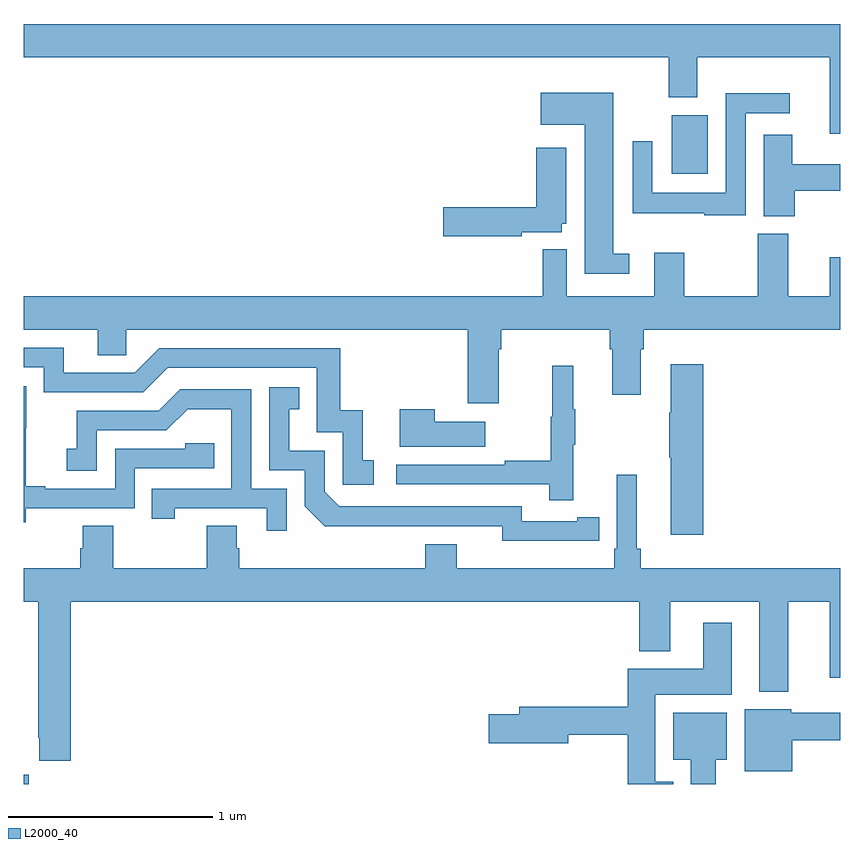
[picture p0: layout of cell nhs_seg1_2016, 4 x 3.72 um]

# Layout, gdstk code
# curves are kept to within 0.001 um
import gdstk
lib = gdstk.Library(unit=1e-6, precision=1e-09)
def R(c, l, rs):  # rectangles x0, y0, x1, y1
    for r in rs: c.add(gdstk.rectangle(r[:2], r[2:], *l))
def P(c, l, *ps):  # polygons
    for p in ps: c.add(gdstk.Polygon(p, *l))
L2000_40 = (2000, 40)

nhs_seg1_2016 = lib.new_cell('nhs_seg1_2016')
R(nhs_seg1_2016, L2000_40, [(221,524.199,221.026,524.245), (224.174,527.186,224.35,527.473)])
P(nhs_seg1_2016, L2000_40, [(225,527.92),(221,527.92),(221,527.756),(224.159,527.756),(224.159,527.562),(224.299,527.562),(224.299,527.756),(224.948,527.756),(224.948,527.382),(225,527.382)],
  [(223.966,526.796),(223.888,526.796),(223.888,527.584),(223.533,527.584),(223.533,527.426),(223.748,527.426),(223.748,526.698),(223.966,526.698)],
  [(224.535,527.484),(224.752,527.484),(224.752,527.581),(224.439,527.581),(224.439,527.095),(224.079,527.095),(224.079,527.347),(223.983,527.347),(223.983,526.994),(224.332,526.994),(224.332,526.984),(224.535,526.984)],
  [(224.777,527.104),(225,527.104),(225,527.233),(224.764,527.233),(224.764,527.377),(224.624,527.377),(224.624,526.978),(224.777,526.978)],
  [(223.44,526.901),(223.636,526.901),(223.636,526.941),(223.657,526.941),(223.657,527.314),(223.511,527.314),(223.511,527.024),(223.056,527.024),(223.056,526.882),(223.44,526.882)],
  [(223.327,526.328),(223.34,526.328),(223.34,526.424),(223.871,526.424),(223.871,526.328),(223.883,526.328),(223.883,526.104),(224.023,526.104),(224.023,526.328),(224.036,526.328),(224.036,526.424),(225,526.424),(225,526.777),(224.948,526.777),(224.948,526.588),(224.743,526.588),(224.743,526.893),(224.596,526.893),(224.596,526.588),(224.235,526.588),(224.235,526.801),(224.087,526.801),(224.087,526.588),(223.66,526.588),(223.66,526.816),(223.542,526.816),(223.542,526.588),(221,526.588),(221,526.424),(221.363,526.424),(221.363,526.297),(221.502,526.297),(221.502,526.424),(223.175,526.424),(223.175,526.062),(223.327,526.062)],
  [(222.715,525.783),(222.662,525.783),(222.662,526.03),(222.551,526.03),(222.551,526.332),(221.664,526.332),(221.544,526.212),(221.197,526.212),(221.197,526.335),(221,526.335),(221,526.239),(221.1,526.239),(221.1,526.116),(221.586,526.116),(221.706,526.236),(222.435,526.236),(222.435,525.921),(222.564,525.921),(222.564,525.663),(222.715,525.663)],
  [(224.327,526.255),(224.168,526.255),(224.168,526.016),(224.161,526.016),(224.161,525.799),(224.168,525.799),(224.168,525.42),(224.327,525.42)],
  [(223.691,525.859),(223.702,525.859),(223.702,526.033),(223.691,526.033),(223.691,526.246),(223.588,526.246),(223.588,525.996),(223.581,525.996),(223.581,525.782),(223.357,525.782),(223.357,525.762),(222.825,525.762),(222.825,525.666),(223.573,525.666),(223.573,525.588),(223.691,525.588)],
  [(221.01,525.549),(221.544,525.549),(221.544,525.744),(221.933,525.744),(221.933,525.867),(221.793,525.867),(221.793,525.84),(221.448,525.84),(221.448,525.645),(221.107,525.645),(221.107,525.658),(221.012,525.658),(221.012,525.941),(221.013,525.941),(221.013,526.147),(221,526.147),(221,525.481),(221.01,525.481)],
  [(223.712,525.39),(223.82,525.39),(223.82,525.506),(223.712,525.506),(223.712,525.486),(223.44,525.486),(223.44,525.558),(222.546,525.558),(222.474,525.63),(222.474,525.831),(222.301,525.831),(222.301,526.035),(222.35,526.035),(222.35,526.141),(222.204,526.141),(222.204,525.735),(222.378,525.735),(222.378,525.558),(222.476,525.461),(223.344,525.462),(223.344,525.389)],
  [(222.288,525.645),(222.114,525.645),(222.114,526.131),(221.768,526.131),(221.663,526.026),(221.26,526.026),(221.26,525.841),(221.211,525.841),(221.211,525.732),(221.358,525.732),(221.358,525.93),(221.7,525.93),(221.804,526.034),(222.018,526.034),(222.018,525.645),(221.629,525.645),(221.629,525.498),(221.74,525.498),(221.74,525.549),(222.191,525.549),(222.191,525.438),(222.288,525.438)],
  [(223.261,525.973),(223.013,525.973),(223.013,526.033),(222.842,526.033),(222.842,525.851),(223.261,525.851)],
  [(221.231,525.092),(224.015,525.092),(224.015,524.849),(224.167,524.849),(224.167,525.092),(224.603,525.092),(224.603,524.651),(224.743,524.651),(224.743,525.092),(224.948,525.092),(224.948,524.718),(225,524.718),(225,525.256),(224.021,525.256),(224.021,525.352),(224.002,525.352),(224.002,525.712),(223.905,525.712),(223.905,525.352),(223.892,525.352),(223.892,525.256),(223.12,525.256),(223.12,525.373),(222.968,525.373),(222.968,525.256),(222.056,525.256),(222.056,525.354),(222.043,525.354),(222.043,525.464),(221.896,525.464),(221.896,525.256),(221.439,525.256),(221.439,525.464),(221.291,525.464),(221.291,525.354),(221.279,525.354),(221.279,525.256),(221,525.256),(221,525.092),(221.071,525.092),(221.071,524.425),(221.077,524.425),(221.077,524.313),(221.231,524.313)],
  [(224.182,524.209),(224.092,524.209),(224.092,524.636),(224.467,524.636),(224.467,524.989),(224.327,524.989),(224.327,524.764),(223.958,524.764),(223.958,524.576),(223.427,524.576),(223.427,524.54),(223.278,524.54),(223.278,524.398),(223.666,524.398),(223.666,524.44),(223.958,524.44),(223.958,524.199),(224.182,524.199)],
  [(224.764,524.414),(225,524.414),(225,524.548),(224.76,524.548),(224.76,524.566),(224.531,524.566),(224.531,524.261),(224.764,524.261)],
  [(224.389,524.318),(224.443,524.318),(224.443,524.548),(224.18,524.548),(224.18,524.318),(224.267,524.318),(224.267,524.199),(224.389,524.199)])

lib.write_gds('nhs_seg1_2016.gds')
